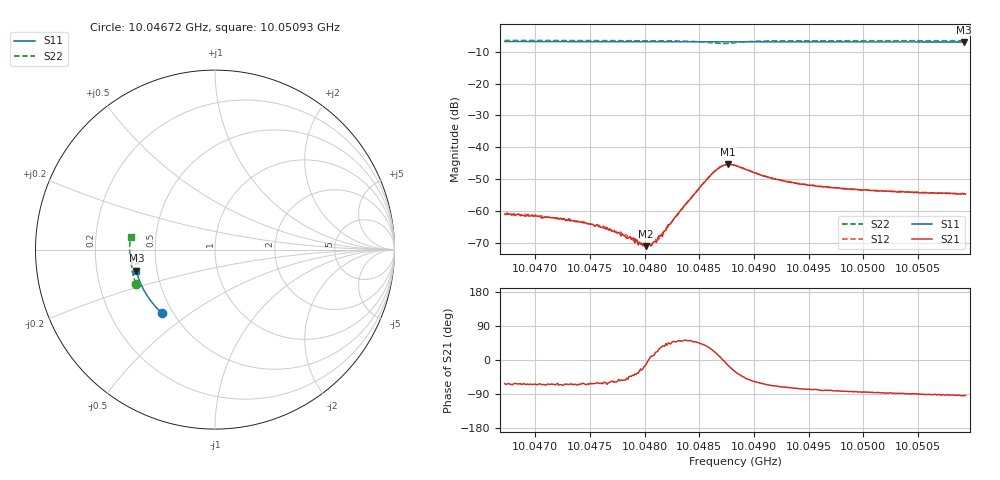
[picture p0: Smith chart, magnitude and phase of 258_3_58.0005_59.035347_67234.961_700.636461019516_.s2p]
#  HZ  S  RI  R  50.00
! Rohde & Schwarz Vector Network Analyzer
! Rohde-Schwarz,ZNB20-2Port,1311601062101988,3.16
! Created: UTC 3/21/2024, 1:01:52 AM
! freq[Hz]  re:S11  im:S11  re:S21  im:S21  re:S12  im:S12  re:S22  im:S22
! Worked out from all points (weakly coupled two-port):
!   401 points, 10.04672 GHz to 10.05093 GHz, reference 50 ohm
!   highest |S21| = -45.40 dB at 10.04876 GHz (marker M1); lowest = -71.1 dB at 10.04802 GHz (marker M2)
!   lowest |S11| = -6.9 dB at 10.05092 GHz (marker M3), VSWR 2.66, Z = 19.1 - j5.65 ohm
!   |S11| at or under -10 dB: nowhere
!   |S22| runs from -7.4 to -6.4 dB; largest |S21 - S12| = 0.0004
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1.0046719e10  -0.2977 -0.3518  0.000412 -0.000782  0.000457 -0.00076  -0.4404 -0.1894
1.0046951e10  -0.3091 -0.3412  0.000364 -0.000741  0.000429 -0.000729  -0.4461 -0.1747
1.0047426e10  -0.3309 -0.3187  0.000306 -0.000585  0.000311 -0.00058  -0.456 -0.1434
1.0047626e10  -0.3395 -0.3087  0.000279 -0.000456  0.000281 -0.000497  -0.4595 -0.1296
1.0047784e10  -0.3463 -0.3007  0.000242 -0.000323  0.000285 -0.000365  -0.4616 -0.1182
1.0047837e10  -0.3484 -0.298  0.000246 -0.000274  0.000289 -0.0003  -0.4624 -0.1143
1.0047879e10  -0.3501 -0.2958  0.000261 -0.000243  0.000292 -0.000226  -0.463 -0.1111
1.0047963e10  -0.3536 -0.2914  0.000272 -0.000119  0.000288 -0.000102  -0.4639 -0.1048
1.0048016e10  -0.3557 -0.2886  0.000272 -5.48e-05  0.000281 -3.57e-05  -0.4643 -0.1006
1.0048079e10  -0.3582 -0.2853  0.000314 6.51e-05  0.000318 8.82e-05  -0.4647 -0.0955
1.0048132e10  -0.3604 -0.2825  0.000353 0.000198  0.00031 0.000183  -0.4649 -0.0911
1.0048174e10  -0.362 -0.2803  0.000367 0.000277  0.000368 0.000298  -0.4648 -0.0874
1.0048311e10  -0.3673 -0.273  0.000566 0.0007  0.000532 0.00076  -0.4635 -0.0746
1.0048606e10  -0.3779 -0.2566  0.00319 0.00179  0.0031 0.00197  -0.4393 -0.0491
1.004869e10  -0.3806 -0.252  0.00481 0.000697  0.00479 0.000977  -0.4259 -0.0565
1.0048764e10  -0.383 -0.248  0.00521 -0.00129  0.00529 -0.000942  -0.4255 -0.0713
1.0048827e10  -0.3852 -0.2446  0.00447 -0.00264  0.00465 -0.00238  -0.4349 -0.0791
1.0049164e10  -0.3965 -0.2254  0.00125 -0.003  0.00145 -0.00293  -0.4678 -0.0563
1.0049533e10  -0.4074 -0.2037  0.000523 -0.00244  0.000673 -0.00244  -0.4746 -0.0257
1.0050239e10  -0.425 -0.1607  0.000116 -0.00203  0.000224 -0.00201  -0.4756 0.025
1.0050924e10  -0.4378 -0.1176  -0.000145 -0.00185  2.59e-06 -0.00182  -0.4704 0.0711
1.0050935e10  -0.4381 -0.1169  -0.000114 -0.00184  -7.98e-06 -0.00188  -0.4704 0.072
